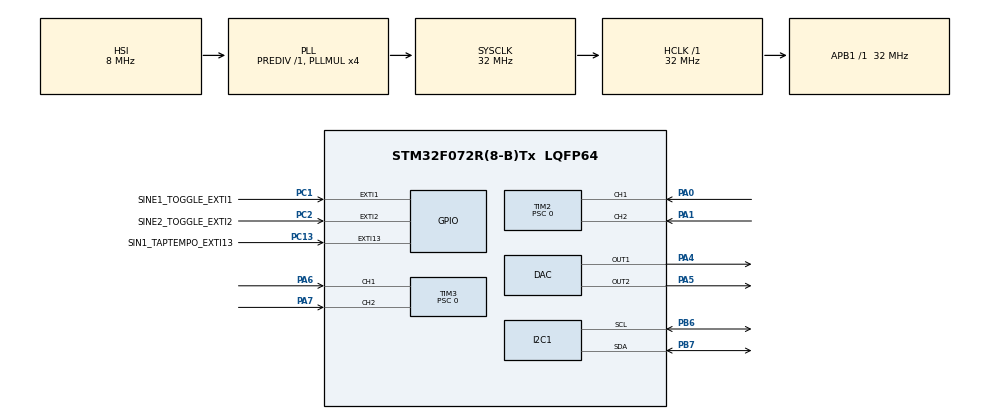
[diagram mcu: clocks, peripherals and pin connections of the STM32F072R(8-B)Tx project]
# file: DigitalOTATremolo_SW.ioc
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DAC.DAC_OutputBuffer2=DAC_OUTPUTBUFFER_ENABLE
DAC.DAC_Trigger=DAC_TRIGGER_T6_TRGO
DAC.DAC_Trigger2=DAC_TRIGGER_T7_TRGO
Dma.DAC_CH1.0.Direction=DMA_MEMORY_TO_PERIPH
Dma.DAC_CH1.0.Instance=DMA1_Channel3
Dma.DAC_CH1.0.MemDataAlignment=DMA_MDATAALIGN_WORD
Dma.DAC_CH1.0.MemInc=DMA_MINC_ENABLE
Dma.DAC_CH1.0.Mode=DMA_CIRCULAR
Dma.DAC_CH1.0.PeriphDataAlignment=DMA_PDATAALIGN_WORD
Dma.DAC_CH1.0.PeriphInc=DMA_PINC_DISABLE
Dma.DAC_CH1.0.Priority=DMA_PRIORITY_LOW
Dma.DAC_CH2.1.Direction=DMA_MEMORY_TO_PERIPH
Dma.DAC_CH2.1.Instance=DMA1_Channel4
Dma.DAC_CH2.1.MemDataAlignment=DMA_MDATAALIGN_WORD
Dma.DAC_CH2.1.MemInc=DMA_MINC_ENABLE
Dma.DAC_CH2.1.Mode=DMA_CIRCULAR
Dma.DAC_CH2.1.PeriphDataAlignment=DMA_PDATAALIGN_WORD
Dma.DAC_CH2.1.PeriphInc=DMA_PINC_DISABLE
Dma.DAC_CH2.1.Priority=DMA_PRIORITY_LOW
Dma.Request0=DAC_CH1
Dma.Request1=DAC_CH2
Mcu.Family=STM32F0
Mcu.Name=STM32F072R(8-B)Tx
Mcu.Package=LQFP64
NVIC.DMA1_Channel2_3_IRQn=true\:1\:0\:true\:false\:true\:false\:true
NVIC.DMA1_Channel4_5_6_7_IRQn=true\:1\:0\:true\:false\:true\:false\:true
NVIC.EXTI0_1_IRQn=true\:0\:0\:false\:false\:true\:true\:true
NVIC.EXTI2_3_IRQn=true\:0\:0\:false\:false\:true\:true\:true
NVIC.EXTI4_15_IRQn=true\:0\:0\:false\:false\:true\:true\:true
NVIC.TIM14_IRQn=true\:1\:0\:true\:false\:true\:true\:true
PA0.Signal=S_TIM2_CH1_ETR
PA1.Signal=S_TIM2_CH2
PA4.Signal=COMP_DAC1_group
PA5.Signal=COMP_DAC2_group
PA6.Signal=S_TIM3_CH1
PA7.Signal=S_TIM3_CH2
PB6.Mode=I2C
PB6.Signal=I2C1_SCL
PB7.Mode=I2C
PB7.Signal=I2C1_SDA
PC1.GPIO_Label=SINE1_TOGGLE_EXTI1
PC1.GPIO_ModeDefaultEXTI=GPIO_MODE_IT_FALLING
PC1.GPIO_PuPd=GPIO_PULLUP
PC1.Signal=GPXTI1
PC13.GPIO_Label=SIN1_TAPTEMPO_EXTI13
PC13.GPIO_ModeDefaultEXTI=GPIO_MODE_IT_FALLING
PC13.GPIO_PuPd=GPIO_PULLUP
PC13.Signal=GPXTI13
PC2.GPIO_Label=SINE2_TOGGLE_EXTI2
PC2.GPIO_ModeDefaultEXTI=GPIO_MODE_IT_FALLING
PC2.GPIO_PuPd=GPIO_PULLUP
PC2.Signal=GPXTI2
ProjectManager.HeapSize=0x200
ProjectManager.StackSize=0x400
ProjectManager.TargetToolchain=STM32CubeIDE
RCC.AHBFreq_Value=32000000
RCC.APB1Freq_Value=32000000
RCC.APB1TimFreq_Value=32000000
RCC.HCLKFreq_Value=32000000
RCC.PLLMUL=RCC_PLL_MUL4
RCC.SYSCLKFreq_VALUE=32000000
RCC.SYSCLKSource=RCC_SYSCLKSOURCE_PLLCLK
SH.COMP_DAC1_group.0=DAC_OUT1,DAC_OUT1
SH.COMP_DAC2_group.0=DAC_OUT2,DAC_OUT2
SH.S_TIM2_CH1_ETR.0=TIM2_CH1,Encoder_Interface
SH.S_TIM2_CH2.0=TIM2_CH2,Encoder_Interface
SH.S_TIM3_CH1.0=TIM3_CH1,Encoder_Interface
SH.S_TIM3_CH2.0=TIM3_CH2,Encoder_Interface
TIM14.Period=65535
TIM14.Prescaler=8
TIM15.Period=65535
TIM15.Prescaler=65535
TIM2.AutoReloadPreload=TIM_AUTORELOAD_PRELOAD_DISABLE
TIM2.CounterMode=TIM_COUNTERMODE_CENTERALIGNED3
TIM2.EncoderMode=TIM_ENCODERMODE_TI12
TIM2.IC1Prescaler=TIM_ICPSC_DIV1
TIM2.IC2Prescaler=TIM_ICPSC_DIV1
TIM2.Period=64
TIM2.Prescaler=0
TIM2.TIM_MasterOutputTrigger=TIM_TRGO_RESET
TIM3.ClockDivision=TIM_CLOCKDIVISION_DIV4
TIM3.CounterMode=TIM_COUNTERMODE_CENTERALIGNED3
TIM3.EncoderMode=TIM_ENCODERMODE_TI12
TIM3.IC1Filter=4
TIM3.IC2Filter=4
TIM3.Period=64
TIM3.Prescaler=0
TIM6.Period=440
TIM6.Prescaler=255
TIM6.TIM_MasterOutputTrigger=TIM_TRGO_UPDATE
TIM7.Period=440
TIM7.Prescaler=255
TIM7.TIM_MasterOutputTrigger=TIM_TRGO_UPDATE
VP_TIM14_VS_ClockSourceINT.Mode=Enable_Timer
VP_TIM15_VS_ClockSourceINT.Mode=Internal
VP_TIM6_VS_ClockSourceINT.Mode=Enable_Timer
VP_TIM7_VS_ClockSourceINT.Mode=Enable_Timer
board=custom

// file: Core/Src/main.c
/* USER CODE BEGIN Header */
/**
  ******************************************************************************
  * @file           : main.c
  * @brief          : Main program body
  ******************************************************************************
  * @attention
  *
  * <h2><center>&copy; Copyright (c) 2020 STMicroelectronics.
  * All rights reserved.</center></h2>
  *
  * This software component is licensed by ST under BSD 3-Clause license,
  * the "License"; You may not use this file except in compliance with the
  * License. You may obtain a copy of the License at:
  *                        opensource.org/licenses/BSD-3-Clause
  *
  ******************************************************************************
  */
/* USER CODE END Header */

#include "main.h"
#include "dac.h"
#include "dma.h"
#include "i2c.h"
#include "tim.h"
#include "gpio.h"

/* USER CODE BEGIN Includes */
#include "sine.h"
#include "ssd1306.h"
/* USER CODE END Includes */

/* USER CODE BEGIN PV */
uint8_t sine1_toggle = 0;
uint8_t sine2_toggle = 0;

uint8_t sin1_max_arr = 64;
uint8_t sin2_max_arr = 64;

uint32_t tap_count = 0;
uint8_t display_flash = 0;
/* USER CODE END PV */

void SystemClock_Config(void);

/* USER CODE BEGIN 0 */
void Utils_i2c_scan() {

    int DeviceFound=0;
    HAL_StatusTypeDef res;
    for(uint16_t i = 0; i < 128; i++) {
        res = HAL_I2C_IsDeviceReady(&hi2c1, i << 1, 1, 10);
        if(res == HAL_OK) {
            DeviceFound=1;
            ssd1306_SetI2CAddress(i);
        }
        if(res == HAL_ERROR)
        {
        }
    }
    if(!DeviceFound)
    {
    }
}
/* USER CODE END 0 */

int main(void)
{

  /* MCU Configuration--------------------------------------------------------*/

  /* Reset of all peripherals, Initializes the Flash interface and the Systick. */
  HAL_Init();

  /* Configure the system clock */
  SystemClock_Config();

  /* Initialize all configured peripherals */
  MX_GPIO_Init();
  MX_DMA_Init();
  MX_DAC_Init();
  MX_TIM6_Init();
  MX_I2C1_Init();
  MX_TIM2_Init();
  MX_TIM3_Init();
  MX_TIM7_Init();
  MX_TIM15_Init();
  MX_TIM14_Init();
  /* USER CODE BEGIN 2 */
  Utils_i2c_scan();
  ssd1306_Init();

  HAL_DAC_Start_DMA(&hdac, DAC_CHANNEL_1, sine_data_table, SINE_DATA_SIZE, DAC_ALIGN_12B_R);
  HAL_DAC_Start_DMA(&hdac, DAC_CHANNEL_2, sine_data_table, SINE_DATA_SIZE, DAC_ALIGN_12B_R);

  TIM2->ARR = sin1_max_arr;
  TIM3->ARR = sin2_max_arr;

  // Trigger inputs for rotary encoders
  HAL_TIM_Base_Start(&htim2);
  HAL_TIM_Base_Start(&htim3);

  // DAC trigger for sine1 wave output
  HAL_TIM_Base_Start(&htim6);
  // DAC trigger for sine2 wave output
  HAL_TIM_Base_Start(&htim7);

  // display flash timer
  HAL_TIM_Base_Start_IT(&htim14);

  /* USER CODE END 2 */

  /* Infinite loop */
  while (1)
  {

  }
}

void SystemClock_Config(void)
{
  RCC_OscInitTypeDef RCC_OscInitStruct = {0};
  RCC_ClkInitTypeDef RCC_ClkInitStruct = {0};
  RCC_PeriphCLKInitTypeDef PeriphClkInit = {0};

  /** Initializes the CPU, AHB and APB busses clocks
  */
  RCC_OscInitStruct.OscillatorType = RCC_OSCILLATORTYPE_HSI;
  RCC_OscInitStruct.HSIState = RCC_HSI_ON;
  RCC_OscInitStruct.HSICalibrationValue = RCC_HSICALIBRATION_DEFAULT;
  RCC_OscInitStruct.PLL.PLLState = RCC_PLL_ON;
  RCC_OscInitStruct.PLL.PLLSource = RCC_PLLSOURCE_HSI;
  RCC_OscInitStruct.PLL.PLLMUL = RCC_PLL_MUL4;
  RCC_OscInitStruct.PLL.PREDIV = RCC_PREDIV_DIV1;
  if (HAL_RCC_OscConfig(&RCC_OscInitStruct) != HAL_OK)
  {
    Error_Handler();
  }
  /** Initializes the CPU, AHB and APB busses clocks
  */
  RCC_ClkInitStruct.ClockType = RCC_CLOCKTYPE_HCLK|RCC_CLOCKTYPE_SYSCLK
                              |RCC_CLOCKTYPE_PCLK1;
  RCC_ClkInitStruct.SYSCLKSource = RCC_SYSCLKSOURCE_PLLCLK;
  RCC_ClkInitStruct.AHBCLKDivider = RCC_SYSCLK_DIV1;
  RCC_ClkInitStruct.APB1CLKDivider = RCC_HCLK_DIV1;

  if (HAL_RCC_ClockConfig(&RCC_ClkInitStruct, FLASH_LATENCY_1) != HAL_OK)
  {
    Error_Handler();
  }
  PeriphClkInit.PeriphClockSelection = RCC_PERIPHCLK_I2C1;
  PeriphClkInit.I2c1ClockSelection = RCC_I2C1CLKSOURCE_HSI;
  if (HAL_RCCEx_PeriphCLKConfig(&PeriphClkInit) != HAL_OK)
  {
    Error_Handler();
  }
}

void Error_Handler(void)
{
}

/************************ (C) COPYRIGHT STMicroelectronics *****END OF FILE****/
